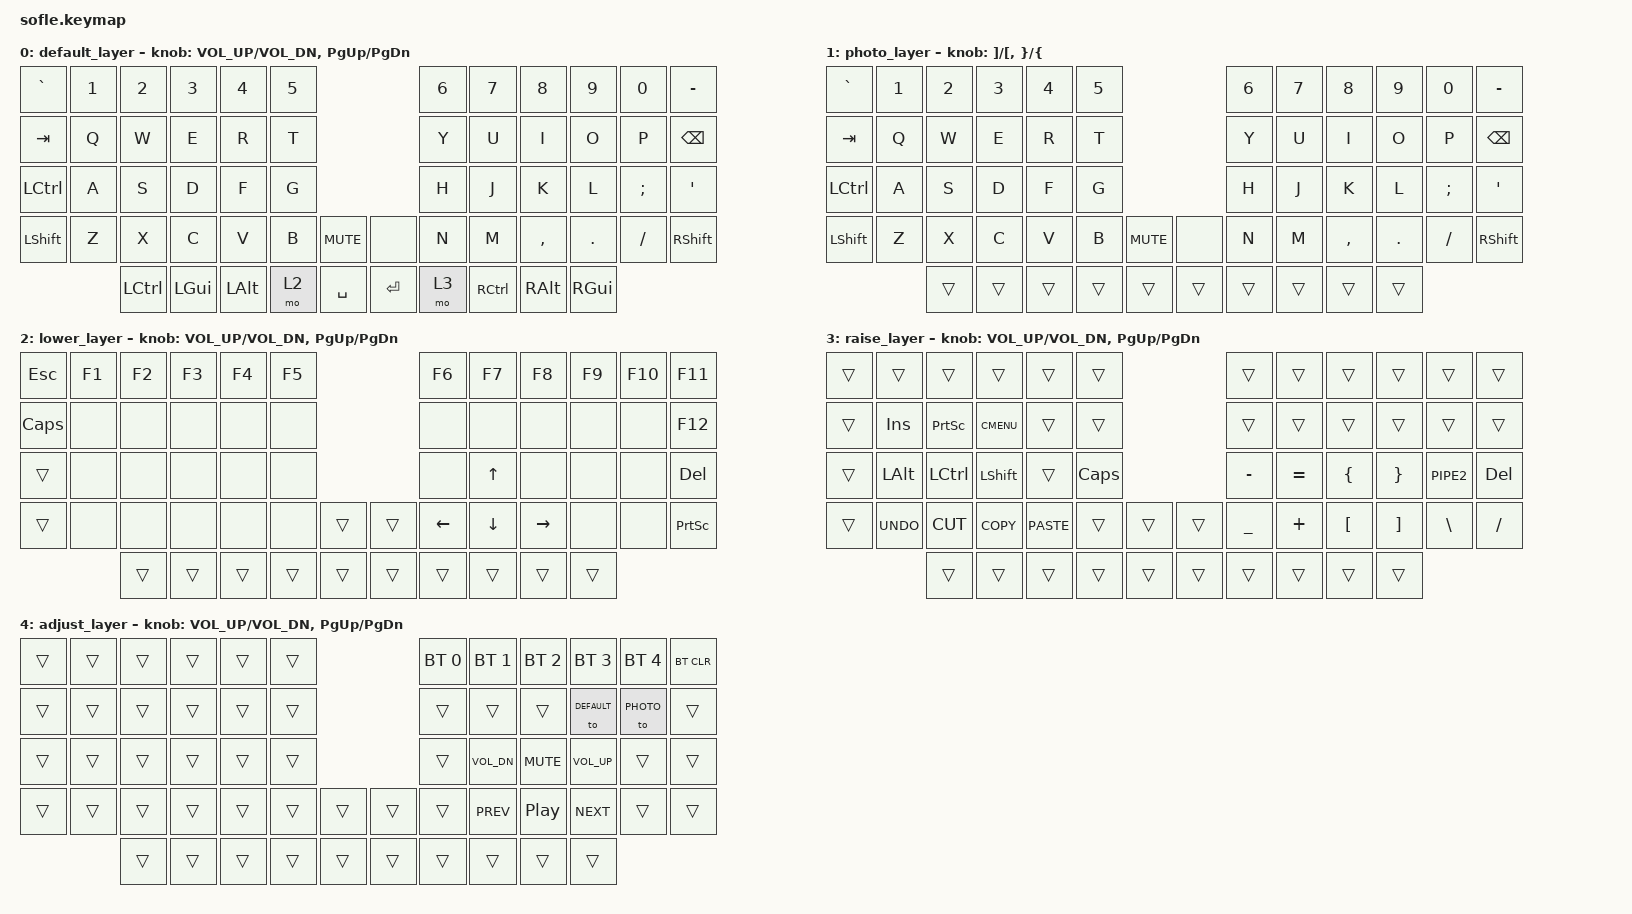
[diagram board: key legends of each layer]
/*
 * Copyright (c) 2020 The ZMK Contributors
 *
 * SPDX-License-Identifier: MIT
 */

#include <behaviors.dtsi>
#include <dt-bindings/zmk/keys.h>
#include <dt-bindings/zmk/bt.h>

#define DEFAULT 0
#define PHOTO 1
#define LOWER 2
#define RAISE 3
#define ADJUST 4


/ {    
    combos {
        compatible = "zmk,combos";       
        combo_adjust {           
            timeout-ms = <50>;            
            key-positions = <53 56>;            
            bindings = <&mo ADJUST>;        
         };    
     };
   };

/ {
    keymap {
        compatible = "zmk,keymap";

        default_layer {
// ------------------------------------------------------------------------------------------------------------
// |   `   |  1  |  2  |  3   |  4   |  5   |                    |  6   |  7    |  8    |  9   |   0   |   -   |
// |  TAB  |  Q  |  W  |  E   |  R   |  T   |                    |  Y   |  U    |  I    |  O   |   P   | BKSPC |
// |  CTR  |  A  |  S  |  D   |  F   |  G   |                    |  H   |  J    |  K    |  L   |   ;   |   '   |
// | SHIFT |  Z  |  X  |  C   |  V   |  B   |  MUTE  |   |       |  N   |  M    |  ,    |  .   |   /   | SHIFT |
//               |CTRL | GUI  | ALT  |LOWER | SPACE  |   | ENTER | RAISE| CTRL  | ALT   | GUI  |
            bindings = <
&kp GRAVE  &kp N1  &kp N2    &kp N3   &kp N4    &kp N5                          &kp N6  &kp N7    &kp N8    &kp N9   &kp N0   &kp MINUS
&kp TAB    &kp Q   &kp W     &kp E    &kp R     &kp T                           &kp Y   &kp U     &kp I     &kp O    &kp P    &kp BSPC
&kp LCTRL  &kp A   &kp S     &kp D    &kp F     &kp G                           &kp H   &kp J     &kp K     &kp L    &kp SEMI &kp SQT
&kp LSHFT  &kp Z   &kp X     &kp C    &kp V     &kp B   &kp C_MUTE    &none     &kp N   &kp M     &kp COMMA &kp DOT  &kp FSLH &kp RSHFT
                   &kp LCTRL &kp LGUI &kp LALT  &mo 2   &kp SPACE     &kp ENTER &mo 3   &kp RCTRL &kp RALT  &kp RGUI
            >;

            sensor-bindings = <&inc_dec_kp C_VOL_UP C_VOL_DN &inc_dec_kp PG_UP PG_DN>;
        };

        photo_layer {
// ------------------------------------------------------------------------------------------------------------
// |   `   |  1  |  2  |  3   |  4   |  5   |                    |  6   |  7    |  8    |  9   |   0   |   -   |
// |  TAB  |  Q  |  W  |  E   |  R   |  T   |                    |  Y   |  U    |  I    |  O   |   P   | BKSPC |
// |  CTR  |  A  |  S  |  D   |  F   |  G   |                    |  H   |  J    |  K    |  L   |   ;   |   '   |
// | SHIFT |  Z  |  X  |  C   |  V   |  B   |  MUTE  |   |       |  N   |  M    |  ,    |  .   |   /   | SHIFT |
//               |CTRL | GUI  | ALT  |LOWER | SPACE  |   | ENTER | RAISE| CTRL  | ALT   | GUI  |
            bindings = <
&kp GRAVE  &kp N1  &kp N2    &kp N3   &kp N4    &kp N5                          &kp N6  &kp N7    &kp N8    &kp N9   &kp N0   &kp MINUS
&kp TAB    &kp Q   &kp W     &kp E    &kp R     &kp T                           &kp Y   &kp U     &kp I     &kp O    &kp P    &kp BSPC
&kp LCTRL  &kp A   &kp S     &kp D    &kp F     &kp G                           &kp H   &kp J     &kp K     &kp L    &kp SEMI &kp SQT
&kp LSHFT  &kp Z   &kp X     &kp C    &kp V     &kp B   &kp C_MUTE    &none     &kp N   &kp M     &kp COMMA &kp DOT  &kp FSLH &kp RSHFT
                   &trans    &trans   &trans    &trans  &trans        &trans     &trans &trans    &trans    &trans
            >;

            sensor-bindings = <&inc_dec_kp RBKT LBKT &inc_dec_kp RBRC LBRC>;
        };

        lower_layer {
// TODO: Some binds are waiting for shifted keycode support.
// ------------------------------------------------------------------------------------------------------------
// | ESC  |  F1 |  F2 |  F3  |  F4  |   F5  |                   |  F6  |  F7   |  F8   |  F9  |  F10  |  F11  |
// | CAPS |     |     |      |      |       |                   |      |       |       |      |       |  F12  |
// |      |     |     |      |      |       |                   |      |  Up   |       |      |       |  Del  |
// |      |     |     |      |      |       |        |  |       | Left | Down  | Right |      |       | P_SCR |
//              |     |      |      |       |        |  |       |      |       |       |      |
            bindings = <
&kp ESC   &kp F1  &kp F2  &kp F3  &kp F4  &kp F5                    &kp F6    &kp F7     &kp F8     &kp F9   &kp F10   &kp F11
&kp CAPS  &none   &none   &none   &none   &none                     &none     &none      &none      &none    &none     &kp F12
&trans    &none   &none   &none   &none   &none                     &none     &kp UP     &none      &none    &none     &kp DEL
&trans    &none   &none   &none   &none   &none   &trans    &trans  &kp LEFT  &kp DOWN   &kp RIGHT  &none    &none     &kp PSCRN
                  &trans  &trans  &trans  &trans  &trans    &trans  &trans    &trans     &trans     &trans
            >;

            sensor-bindings = <&inc_dec_kp C_VOL_UP C_VOL_DN &inc_dec_kp PG_UP PG_DN>;
        };

        raise_layer {
// ------------------------------------------------------------------------------------------------------------
// |     |      |      |       |       |      |                |      |      |       |      |       |       |
// |     | INS  | PSCR | GUI   |       |      |                |      |      |       |      |       |       |
// |     | ALT  | CTRL | SHIFT |       | CAPS |                |MINUS |EQUAL |LCBRCK |RCBRCK|  PIP  |  DEL  |
// |     | UNDO | CUT  | COPY  | PASTE |      |      |  |      |  _   |  +   | LBRCK | RBRCK|   \   |   /   |
//              |      |       |       |      |      |  |      |      |      |       |      |
            bindings = <
&trans     &trans       &trans       &trans       &trans      &trans                    &trans       &trans       &trans       &trans       &trans       &trans
&trans     &kp INS      &kp PSCRN    &kp K_CMENU  &trans       &trans                   &trans       &trans       &trans       &trans       &trans       &trans
&trans     &kp LALT     &kp LCTRL    &kp LSHFT    &trans       &kp CLCK                 &kp MINUS    &kp EQUAL    &kp LBRC     &kp RBRC     &kp PIPE2    &kp DEL
&trans     &kp K_UNDO   &kp K_CUT    &kp K_COPY   &kp K_PASTE  &trans  &trans   &trans  &kp UNDER    &kp PLUS     &kp LBKT     &kp RBKT     &kp BSLH     &kp FSLH
                        &trans       &trans       &trans       &trans  &trans   &trans  &trans       &trans       &trans       &trans
            >;

            sensor-bindings = <&inc_dec_kp C_VOL_UP C_VOL_DN &inc_dec_kp PG_UP PG_DN>;
        };
        
        adjust_layer {
// ------------------------------------------------------------------------------------------------------------
// |     |      |      |       |       |      |                |BTCLR |  BT1  |  BT2  |  BT3  |  BT4  |  BT5  |
// |     |      |      |       |       |      |                |      |       |       |DEFAULT| PHOTO |       |
// |     |      |      |       |       |      |                |      |VOL_DO |  MUTE |VOL_UP |       |       |
// |     |      |      |       |       |      |      |  |      |      | PREV  | PLAY  | NEXT  |       |       |
//              |      |       |       |      |      |  |      |      |       |       |       |
            bindings = <
&trans     &trans       &trans       &trans       &trans      &trans                    &bt BT_SEL 0 &bt BT_SEL 1 &bt BT_SEL 2 &bt BT_SEL 3 &bt BT_SEL 4 &bt BT_CLR
&trans     &trans       &trans       &trans       &trans      &trans                    &trans       &trans       &trans       &to DEFAULT   &to PHOTO   &trans
&trans     &trans       &trans       &trans       &trans      &trans                    &trans       &kp C_VOL_DN &kp C_MUTE   &kp C_VOL_UP  &trans       &trans
&trans     &trans       &trans       &trans       &trans      &trans   &trans   &trans  &trans       &kp C_PREV   &kp C_PP     &kp C_NEXT    &trans       &trans
                        &trans       &trans       &trans      &trans   &trans   &trans  &trans       &trans       &trans       &trans
            >;

            sensor-bindings = <&inc_dec_kp C_VOL_UP C_VOL_DN &inc_dec_kp PG_UP PG_DN>;
        };
       
    };
};
